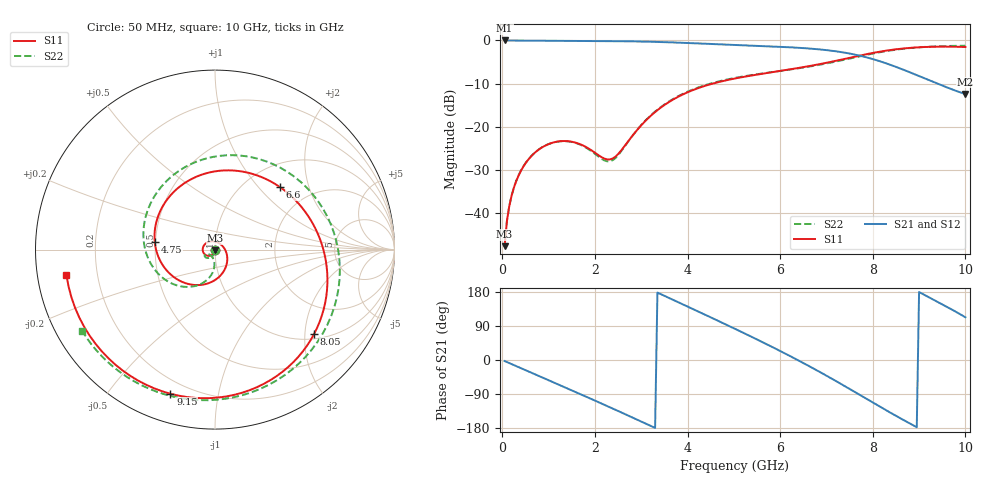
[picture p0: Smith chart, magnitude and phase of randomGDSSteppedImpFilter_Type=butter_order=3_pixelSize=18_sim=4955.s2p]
! freq	dB(S11)	phase(S11)	dB(S12)	phase(S12)
!  dB(S21)	phase(S21)	dB(S22)	phase(S22)
!S-par simulation data
#  GHz  S  DB  R 50
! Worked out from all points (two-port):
!   200 points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, 50 MHz to 10 GHz, reference 50 ohm
!   highest |S21| = -0.01 dB at 50 MHz (marker M1); lowest = -12.4 dB at 10 GHz (marker M2)
!   |S21| within 3 dB of the highest: start of sweep to 7.487 GHz
!   lowest |S11| = -47.6 dB at 50 MHz (marker M3), VSWR 1.01, Z = 50 - j0.419 ohm
!   |S11| at or under -10 dB: start of sweep to 4.537 GHz
!   |S22| runs from -47.5 to -1.2 dB; largest |S21 - S12| = 0
!   S11 on the Smith chart (normalised r, x): 50 MHz: 1.00, -0.01; 4.75 GHz: 0.50, +0.05; 6.6 GHz: 1.41, +1.32; 8.05 GHz: 1.13, -2.23; 9.15 GHz: 0.13, -0.73; 10 GHz: 0.09, -0.08
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0.05  -47.56 -90.3  -0.01 -2.7  -0.01 -2.7  -47.53 -89.2
0.1  -41.76 -94.2  -0.01 -5.4  -0.01 -5.4  -41.73 -92.1
0.2  -35.92 -101.7  -0.02 -10.8  -0.02 -10.8  -35.89 -97.6
0.55  -27.70 -125.6  -0.05 -29.4  -0.05 -29.4  -27.67 -114.0
1.2  -23.37 -170.2  -0.10 -64.1  -0.10 -64.1  -23.38 -140.1
1.75  -24.32 143.8  -0.12 -93.6  -0.12 -93.6  -24.44 -153.7
2.35  -27.44 48.9  -0.16 -126.2  -0.16 -126.2  -27.86 -121.8
2.9  -20.84 -41.2  -0.23 -156.7  -0.23 -156.7  -20.81 -92.0
3.4  -15.70 -87.0  -0.36 175.1  -0.36 175.1  -15.59 -103.0
4.15  -11.34 -143.6  -0.66 132.6  -0.66 132.6  -11.19 -131.7
4.75  -9.42 173.0  -0.92 98.2  -0.92 98.2  -9.27 -157.1
5.05  -8.74 151.3  -1.05 80.8  -1.05 80.8  -8.61 -170.2
5.9  -7.22 90.4  -1.42 30.0  -1.42 30.0  -7.21 148.4
6.6  -5.99 44.0  -1.85 -14.5  -1.85 -14.5  -6.10 105.3
6.7  -5.79 37.9  -1.93 -21.1  -1.93 -21.1  -5.92 98.2
7.4  -4.25 -3.1  -2.84 -69.3  -2.84 -69.3  -4.43 42.6
8.05  -2.80 -40.3  -4.47 -115.8  -4.47 -115.8  -2.94 -13.2
8.35  -2.26 -57.9  -5.52 -136.9  -5.52 -136.9  -2.37 -37.9
8.75  -1.77 -82.0  -7.15 -164.1  -7.15 -164.1  -1.82 -68.4
9.15  -1.51 -107.2  -8.90 169.6  -8.90 169.6  -1.48 -96.0
9.55  -1.43 -134.4  -10.64 143.7  -10.64 143.7  -1.30 -121.4
10  -1.52 -170.4  -12.40 112.7  -12.40 112.7  -1.23 -148.5
